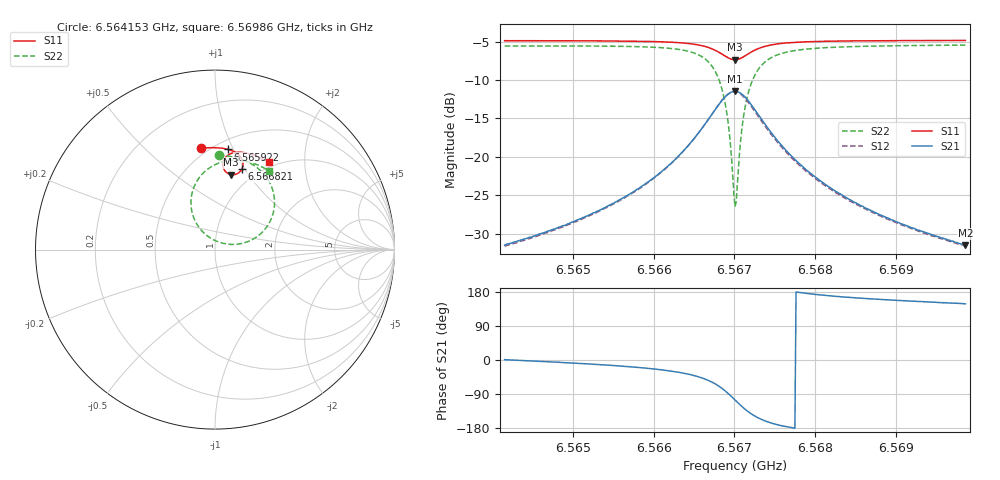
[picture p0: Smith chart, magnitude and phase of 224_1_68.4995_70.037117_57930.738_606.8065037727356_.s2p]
#  HZ  S  RI  R  50.00
! Rohde & Schwarz Vector Network Analyzer
! Rohde-Schwarz,ZNB20-2Port,1311601062101988,3.16
! Created: UTC 3/20/2024, 4:58:39 PM
! freq[Hz]  re:S11  im:S11  re:S21  im:S21  re:S12  im:S12  re:S22  im:S22
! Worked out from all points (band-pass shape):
!   401 points, 6.564153 GHz to 6.56986 GHz, reference 50 ohm
!   highest |S21| = -11.48 dB at 6.567007 GHz (marker M1); lowest = -31.5 dB at 6.56986 GHz (marker M2)
!   |S21| within 3 dB of the highest: 6.566721 GHz to 6.567292 GHz (571.2 kHz wide, 0.0087 % of centre)
!   lowest |S11| = -7.4 dB at 6.567007 GHz (marker M3), VSWR 2.49, Z = 40.6 + j41.5 ohm
!   |S11| at or under -10 dB: nowhere
!   |S22| runs from -26.5 to -5.5 dB; largest |S21 - S12| = 0.012
!   S11 on the Smith chart (normalised r, x): 6.564153 GHz: 0.46, +0.76; 6.565922 GHz: 0.58, +0.95; 6.566821 GHz: 0.84, +0.97; 6.56986 GHz: 0.93, +1.34
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6.5641528e9  -0.0783 0.5638  0.0266 0.000476  0.0262 -7.54e-05  0.0209 0.5252
6.5651088e9  -0.000767 0.568  0.0392 -0.00655  0.0386 -0.00709  0.1094 0.5141
6.5659222e9  0.0731 0.5582  0.0633 -0.0254  0.0623 -0.0262  0.2085 0.4743
6.5660649e9  0.0877 0.5535  0.0702 -0.033  0.0692 -0.0338  0.2314 0.4589
6.5663788e9  0.1228 0.5353  0.0906 -0.0637  0.0892 -0.065  0.2898 0.3981
6.5665928e9  0.1471 0.508  0.1037 -0.111  0.1013 -0.1131  0.3276 0.3069
6.5667212e9  0.1557 0.4795  0.0991 -0.1608  0.0952 -0.1638  0.3263 0.2115
6.5668211e9  0.1502 0.4498  0.0725 -0.2119  0.0658 -0.2148  0.2801 0.1158
6.5669067e9  0.1292 0.4258  0.0199 -0.251  0.0102 -0.2518  0.1845 0.045
6.5669353e9  0.1185 0.4206  -0.00412 -0.2588  -0.0147 -0.2579  0.1409 0.0324
6.5669923e9  0.094 0.4174  -0.0576 -0.2602  -0.0686 -0.2555  0.0458 0.0348
6.5670066e9  0.0877 0.4183  -0.0709 -0.2571  -0.0818 -0.2515  0.0225 0.0416
6.5670351e9  0.0757 0.4225  -0.0967 -0.2472  -0.1064 -0.2398  -0.0213 0.0619
6.5670922e9  0.0564 0.4376  -0.138 -0.2148  -0.145 -0.2051  -0.0889 0.1236
6.567135e9  0.0476 0.4525  -0.1582 -0.1849  -0.1625 -0.1743  -0.1189 0.1787
6.5671921e9  0.0438 0.473  -0.1708 -0.1446  -0.1722 -0.1345  -0.1336 0.2505
6.5672634e9  0.0477 0.4951  -0.1706 -0.1014  -0.1696 -0.093  -0.1251 0.3252
6.5675203e9  0.0867 0.5343  -0.128 -0.0222  -0.1251 -0.0185  -0.0285 0.4569
6.5679626e9  0.145 0.5425  -0.076 0.00818  -0.0743 0.00909  0.0927 0.4974
6.568405e9  0.1888 0.5347  -0.0517 0.0134  -0.0505 0.014  0.1641 0.4933
6.5689186e9  0.2318 0.5202  -0.0368 0.0144  -0.0359 0.0148  0.2223 0.4777
6.5698604e9  0.3003 0.486  -0.0226 0.014  -0.0222 0.0139  0.3018 0.4392
